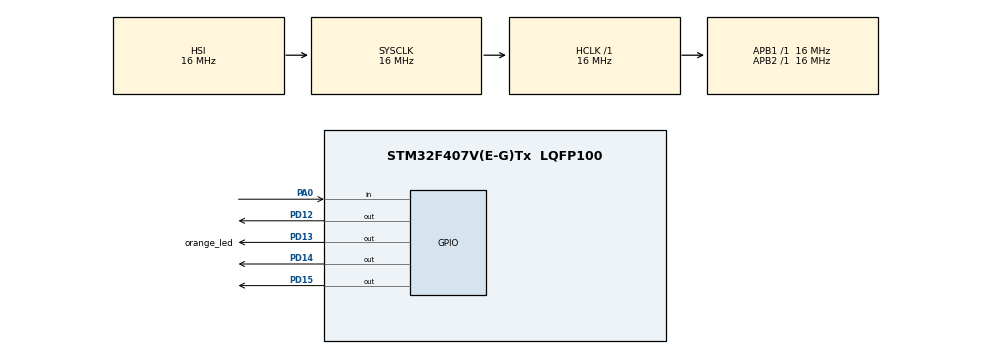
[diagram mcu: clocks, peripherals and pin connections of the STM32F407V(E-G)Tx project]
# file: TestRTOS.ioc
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Mcu.Family=STM32F4
Mcu.Name=STM32F407V(E-G)Tx
Mcu.Package=LQFP100
NVIC.PriorityGroup=NVIC_PRIORITYGROUP_4
NVIC.TIM1_UP_TIM10_IRQn=true\:15\:0\:false\:false\:true\:false\:true\:true
NVIC.TimeBase=TIM1_UP_TIM10_IRQn
NVIC.TimeBaseIP=TIM1
PA0-WKUP.Signal=GPIO_Input
PD12.Signal=GPIO_Output
PD13.GPIO_Label=orange_led
PD13.Signal=GPIO_Output
PD14.Signal=GPIO_Output
PD15.Signal=GPIO_Output
ProjectManager.HeapSize=0x200
ProjectManager.StackSize=0x400
ProjectManager.TargetToolchain=STM32CubeIDE
RCC.AHBFreq_Value=16000000
RCC.APB1Freq_Value=16000000
RCC.APB2Freq_Value=16000000
RCC.CortexFreq_Value=16000000
RCC.HSE_VALUE=25000000
RCC.HSI_VALUE=16000000
RCC.LSE_VALUE=32768
RCC.SYSCLKFreq_VALUE=16000000
RCC.VCOOutputFreq_Value=192000000
VP_SYS_VS_tim1.Mode=TIM1
board=custom

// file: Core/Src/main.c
/* USER CODE BEGIN Header */
/**
  ******************************************************************************
  * @file           : main.c
  * @brief          : Main program body
  ******************************************************************************
  * @attention
  *
  * Copyright (c) 2025 STMicroelectronics.
  * All rights reserved.
  *
  * This software is licensed under terms that can be found in the LICENSE file
  * in the root directory of this software component.
  * If no LICENSE file comes with this software, it is provided AS-IS.
  *
  ******************************************************************************
  */
/* USER CODE END Header */
#include "main.h"

/* USER CODE BEGIN Includes */
#include "FreeRTOS.h"
#include "task.h"
#include "timers.h"
#include "semphr.h"
#include "queue.h"
/* USER CODE END Includes */

/* USER CODE BEGIN PTD */
/* Priorities at which the tasks are created. */
#define mainONE_LEDTASK_PRIORITY		( tskIDLE_PRIORITY + 2 )
#define	mainOTHER_LED_TASK_PRIORITY		( tskIDLE_PRIORITY + 1 )

/* The rate at which data is sent to the queue.  The times are converted from
milliseconds to ticks using the pdMS_TO_TICKS() macro. */
#define mainTASK_SEND_FREQUENCY_MS			pdMS_TO_TICKS( 200UL )
#define mainTIMER_SEND_FREQUENCY_MS			pdMS_TO_TICKS( 2000UL )

/* The number of items the queue can hold at once. */
#define mainQUEUE_LENGTH					( 2 )

/* The values sent to the queue receive task from the queue send task and the
queue send software timer respectively. */
#define mainVALUE_SENT_FROM_TASK			( 100UL )
#define mainVALUE_SENT_FROM_TIMER			( 200UL )
/* USER CODE END PTD */

void SystemClock_Config(void);
static void MX_GPIO_Init(void);
/* USER CODE BEGIN PFP */
static void prvStartDefaultTask(void  * argument);
static void prvStartTask02(void  * argument);
/* USER CODE END PFP */

/* USER CODE BEGIN 0 */
/* The queue used by both tasks. */
static QueueHandle_t xQueue = NULL;

/* A software timer that is started from the tick hook. */
//static TimerHandle_t xTimer = NULL;
/* USER CODE END 0 */

int main(void)
{

  /* USER CODE BEGIN 1 */
//	HAL_NVIC_SetPriorityGrouping(NVIC_PRIORITYGROUP_4);
  /* USER CODE END 1 */

  /* MCU Configuration--------------------------------------------------------*/

  /* Reset of all peripherals, Initializes the Flash interface and the Systick. */
  HAL_Init();

  /* Configure the system clock */
  SystemClock_Config();

  /* Initialize all configured peripherals */
  MX_GPIO_Init();
  /* USER CODE BEGIN 2 */
  const TickType_t xTimerPeriod = mainTIMER_SEND_FREQUENCY_MS;

    	/* Create the queue. */
    	xQueue = xQueueCreate( mainQUEUE_LENGTH, sizeof( uint32_t ) );
      /* USER CODE BEGIN 1 */
    	if( xQueue != NULL )
    		{
  		xTaskCreate( prvStartDefaultTask,			/* The function that implements the task. */
  							"One LED", 							/* The text name assigned to the task - for debug only as it is not used by the kernel. */
  							configMINIMAL_STACK_SIZE, 		/* The size of the stack to allocate to the task. */
  							NULL, 							/* The parameter passed to the task - not used in this simple case. */
  							mainONE_LEDTASK_PRIORITY,/* The priority assigned to the task. */
  							NULL );							/* The task handle is not required, so NULL is passed. */

  		xTaskCreate( prvStartTask02, "Other LED", configMINIMAL_STACK_SIZE, NULL, mainOTHER_LED_TASK_PRIORITY, NULL );
  //
  		/* Create the software timer, but don't start it yet. */
//  		xTimer = xTimerCreate( "Timer",				/* The text name assigned to the software timer - for debug only as it is not used by the kernel. */
//  								xTimerPeriod,		/* The period of the software timer in ticks. */
//  								pdTRUE,				/* xAutoReload is set to pdTRUE. */
//  								NULL,				/* The timer's ID is not used. */
//								prvStartDefaultTask );/* The function executed when the timer expires. */
//
//  		if( xTimer != NULL )
//  				{
//  					xTimerStart( xTimer, 0 );
//  				}
  //	  /* Start the scheduler so the tasks start executing. */
  	  vTaskStartScheduler();
  	}
  	else
  	{
  		//throw led if queue can't be created.. debug led
  		HAL_GPIO_TogglePin( GPIOD, GPIO_PIN_12 );

  	}
  /* USER CODE END 2 */

  /* Infinite loop */
  while (1)
  {

  }
}

void SystemClock_Config(void)
{
  RCC_OscInitTypeDef RCC_OscInitStruct = {0};
  RCC_ClkInitTypeDef RCC_ClkInitStruct = {0};

  /** Configure the main internal regulator output voltage
  */
  __HAL_RCC_PWR_CLK_ENABLE();
  __HAL_PWR_VOLTAGESCALING_CONFIG(PWR_REGULATOR_VOLTAGE_SCALE1);

  /** Initializes the RCC Oscillators according to the specified parameters
  * in the RCC_OscInitTypeDef structure.
  */
  RCC_OscInitStruct.OscillatorType = RCC_OSCILLATORTYPE_HSI;
  RCC_OscInitStruct.HSIState = RCC_HSI_ON;
  RCC_OscInitStruct.HSICalibrationValue = RCC_HSICALIBRATION_DEFAULT;
  RCC_OscInitStruct.PLL.PLLState = RCC_PLL_NONE;
  if (HAL_RCC_OscConfig(&RCC_OscInitStruct) != HAL_OK)
  {
    Error_Handler();
  }

  /** Initializes the CPU, AHB and APB buses clocks
  */
  RCC_ClkInitStruct.ClockType = RCC_CLOCKTYPE_HCLK|RCC_CLOCKTYPE_SYSCLK
                              |RCC_CLOCKTYPE_PCLK1|RCC_CLOCKTYPE_PCLK2;
  RCC_ClkInitStruct.SYSCLKSource = RCC_SYSCLKSOURCE_HSI;
  RCC_ClkInitStruct.AHBCLKDivider = RCC_SYSCLK_DIV1;
  RCC_ClkInitStruct.APB1CLKDivider = RCC_HCLK_DIV1;
  RCC_ClkInitStruct.APB2CLKDivider = RCC_HCLK_DIV1;

  if (HAL_RCC_ClockConfig(&RCC_ClkInitStruct, FLASH_LATENCY_0) != HAL_OK)
  {
    Error_Handler();
  }
}

static void MX_GPIO_Init(void)
{
  GPIO_InitTypeDef GPIO_InitStruct = {0};

  /* GPIO Ports Clock Enable */
  __HAL_RCC_GPIOA_CLK_ENABLE();
  __HAL_RCC_GPIOD_CLK_ENABLE();

  /*Configure GPIO pin Output Level */
  HAL_GPIO_WritePin(GPIOD, GPIO_PIN_12|orange_led_Pin|GPIO_PIN_14|GPIO_PIN_15, GPIO_PIN_RESET);

  /*Configure GPIO pin : PA0 */
  GPIO_InitStruct.Pin = GPIO_PIN_0;
  GPIO_InitStruct.Mode = GPIO_MODE_INPUT;
  GPIO_InitStruct.Pull = GPIO_NOPULL;
  HAL_GPIO_Init(GPIOA, &GPIO_InitStruct);

  /*Configure GPIO pins : PD12 orange_led_Pin PD14 PD15 */
  GPIO_InitStruct.Pin = GPIO_PIN_12|orange_led_Pin|GPIO_PIN_14|GPIO_PIN_15;
  GPIO_InitStruct.Mode = GPIO_MODE_OUTPUT_PP;
  GPIO_InitStruct.Pull = GPIO_NOPULL;
  GPIO_InitStruct.Speed = GPIO_SPEED_FREQ_LOW;
  HAL_GPIO_Init(GPIOD, &GPIO_InitStruct);

}

/* USER CODE BEGIN 4 */
static void prvStartDefaultTask(void  * argument)
{
  /* USER CODE BEGIN 5 */
  /* Infinite loop */
  for(;;)
  {

	  HAL_GPIO_TogglePin(GPIOD,GPIO_PIN_14);

	  vTaskDelay(250);
  }
  /* USER CODE END 5 */
  vTaskDelete( NULL );
}

/* USER CODE BEGIN Header_StartTask02 */
/**
* @brief Function implementing the myLEDTask thread.
* @param argument: Not used
* @retval None
*/
/* USER CODE END Header_StartTask02 */
static void prvStartTask02(void  * argument)
{
  /* USER CODE BEGIN StartTask02 */
  /* Infinite loop */
  for(;;)
  {
	  HAL_GPIO_TogglePin(GPIOD,GPIO_PIN_15);
    vTaskDelay(100);
  }
  /* USER CODE END StartTask02 */
  vTaskDelete( NULL );
}
/* USER CODE END 4 */

void HAL_TIM_PeriodElapsedCallback(TIM_HandleTypeDef *htim)
{
  if (htim->Instance == TIM1) {
    HAL_IncTick();
  }
}

void Error_Handler(void)
{
  __disable_irq();
  while (1)
  {
  }
}
